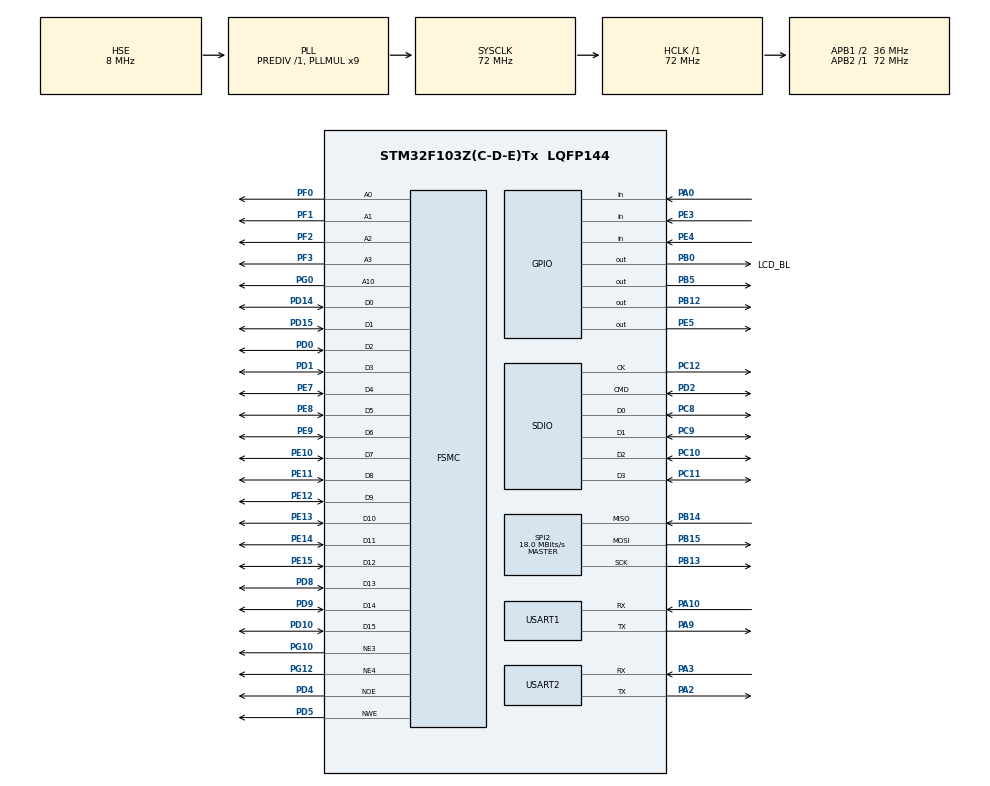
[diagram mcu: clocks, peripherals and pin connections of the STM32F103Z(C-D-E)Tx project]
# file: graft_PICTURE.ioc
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Dma.Request0=USART2_RX
Dma.Request1=USART2_TX
Dma.USART2_RX.0.Direction=DMA_PERIPH_TO_MEMORY
Dma.USART2_RX.0.Instance=DMA1_Channel6
Dma.USART2_RX.0.MemDataAlignment=DMA_MDATAALIGN_BYTE
Dma.USART2_RX.0.MemInc=DMA_MINC_ENABLE
Dma.USART2_RX.0.Mode=DMA_NORMAL
Dma.USART2_RX.0.PeriphDataAlignment=DMA_PDATAALIGN_BYTE
Dma.USART2_RX.0.PeriphInc=DMA_PINC_DISABLE
Dma.USART2_RX.0.Priority=DMA_PRIORITY_LOW
Dma.USART2_TX.1.Direction=DMA_MEMORY_TO_PERIPH
Dma.USART2_TX.1.Instance=DMA1_Channel7
Dma.USART2_TX.1.MemDataAlignment=DMA_MDATAALIGN_BYTE
Dma.USART2_TX.1.MemInc=DMA_MINC_ENABLE
Dma.USART2_TX.1.Mode=DMA_NORMAL
Dma.USART2_TX.1.PeriphDataAlignment=DMA_PDATAALIGN_BYTE
Dma.USART2_TX.1.PeriphInc=DMA_PINC_DISABLE
Dma.USART2_TX.1.Priority=DMA_PRIORITY_LOW
FATFS._CODE_PAGE=936
FATFS._FS_LOCK=10
FATFS._MAX_SS=4096
FATFS._USE_FIND=1
FATFS._USE_LFN=2
FSMC.AddressSetupTime1=6
FSMC.AddressSetupTime2=0
FSMC.BusTurnAroundDuration1=0
FSMC.BusTurnAroundDuration2=0
FSMC.DataSetupTime1=26
FSMC.DataSetupTime2=1
FSMC.ExtendedAddressSetupTime1=3
FSMC.ExtendedBusTurnAroundDuration1=0
FSMC.ExtendedDataSetupTime1=6
FSMC.ExtendedMode1=FSMC_EXTENDED_MODE_ENABLE
FSMC.WriteOperation2=FSMC_WRITE_OPERATION_ENABLE
Mcu.Family=STM32F1
Mcu.Name=STM32F103Z(C-D-E)Tx
Mcu.Package=LQFP144
NVIC.DMA1_Channel6_IRQn=true\:0\:0\:false\:false\:true\:false\:true\:true
NVIC.DMA1_Channel7_IRQn=true\:0\:0\:false\:false\:true\:false\:true\:true
NVIC.PriorityGroup=NVIC_PRIORITYGROUP_4
NVIC.SDIO_IRQn=true\:0\:0\:false\:false\:true\:true\:true\:true
NVIC.USART2_IRQn=true\:0\:0\:false\:false\:true\:true\:true\:true
OSC_IN.Mode=HSE-External-Oscillator
OSC_IN.Signal=RCC_OSC_IN
OSC_OUT.Mode=HSE-External-Oscillator
OSC_OUT.Signal=RCC_OSC_OUT
PA0-WKUP.GPIO_PuPd=GPIO_PULLDOWN
PA0-WKUP.Signal=GPIO_Input
PA10.Mode=Asynchronous
PA10.Signal=USART1_RX
PA13.Mode=Serial_Wire
PA13.Signal=SYS_JTMS-SWDIO
PA14.Mode=Serial_Wire
PA14.Signal=SYS_JTCK-SWCLK
PA2.Mode=Asynchronous
PA2.Signal=USART2_TX
PA3.Mode=Asynchronous
PA3.Signal=USART2_RX
PA9.Mode=Asynchronous
PA9.Signal=USART1_TX
PB0.GPIO_Label=LCD_BL
PB0.GPIO_PuPd=GPIO_PULLDOWN
PB0.Signal=GPIO_Output
PB12.Signal=GPIO_Output
PB13.Mode=Full_Duplex_Master
PB13.Signal=SPI2_SCK
PB14.Mode=Full_Duplex_Master
PB14.Signal=SPI2_MISO
PB15.Mode=Full_Duplex_Master
PB15.Signal=SPI2_MOSI
PB5.GPIO_PuPd=GPIO_PULLUP
PB5.GPIO_Speed=GPIO_SPEED_FREQ_HIGH
PB5.PinState=GPIO_PIN_SET
PB5.Signal=GPIO_Output
PC10.Mode=SD_4_bits_Wide_bus
PC10.Signal=SDIO_D2
PC11.Mode=SD_4_bits_Wide_bus
PC11.Signal=SDIO_D3
PC12.Mode=SD_4_bits_Wide_bus
PC12.Signal=SDIO_CK
PC8.Mode=SD_4_bits_Wide_bus
PC8.Signal=SDIO_D0
PC9.Mode=SD_4_bits_Wide_bus
PC9.Signal=SDIO_D1
PD0.Signal=FSMC_D2_DA2
PD1.Signal=FSMC_D3_DA3
PD10.Signal=FSMC_D15_DA15
PD14.Signal=FSMC_D0_DA0
PD15.Signal=FSMC_D1_DA1
PD2.Mode=SD_4_bits_Wide_bus
PD2.Signal=SDIO_CMD
PD4.Signal=FSMC_NOE
PD5.Signal=FSMC_NWE
PD8.Signal=FSMC_D13_DA13
PD9.Signal=FSMC_D14_DA14
PE10.Signal=FSMC_D7_DA7
PE11.Signal=FSMC_D8_DA8
PE12.Signal=FSMC_D9_DA9
PE13.Signal=FSMC_D10_DA10
PE14.Signal=FSMC_D11_DA11
PE15.Signal=FSMC_D12_DA12
PE3.GPIO_PuPd=GPIO_PULLUP
PE3.Signal=GPIO_Input
PE4.GPIO_PuPd=GPIO_PULLUP
PE4.Signal=GPIO_Input
PE5.GPIO_PuPd=GPIO_PULLUP
PE5.GPIO_Speed=GPIO_SPEED_FREQ_HIGH
PE5.PinState=GPIO_PIN_SET
PE5.Signal=GPIO_Output
PE7.Signal=FSMC_D4_DA4
PE8.Signal=FSMC_D5_DA5
PE9.Signal=FSMC_D6_DA6
PF0.Signal=FSMC_A0
PF1.Signal=FSMC_A1
PF2.Signal=FSMC_A2
PF3.Signal=FSMC_A3
PG0.Signal=FSMC_A10
PG10.Mode=NorPsramChipSelect3_2
PG10.Signal=FSMC_NE3
PG12.Mode=NorPsramChipSelect4_1
PG12.Signal=FSMC_NE4
ProjectManager.HeapSize=0x1200
ProjectManager.StackSize=0x1400
ProjectManager.TargetToolchain=SW4STM32
RCC.AHBFreq_Value=72000000
RCC.APB1CLKDivider=RCC_HCLK_DIV2
RCC.APB1Freq_Value=36000000
RCC.APB1TimFreq_Value=72000000
RCC.APB2Freq_Value=72000000
RCC.APB2TimFreq_Value=72000000
RCC.HCLKFreq_Value=72000000
RCC.PLLMUL=RCC_PLL_MUL9
RCC.PLLSourceVirtual=RCC_PLLSOURCE_HSE
RCC.SYSCLKFreq_VALUE=72000000
RCC.SYSCLKSource=RCC_SYSCLKSOURCE_PLLCLK
RCC.USBFreq_Value=72000000
SDIO.ClockDiv=4
SDIO.HardwareFlowControl=SDIO_HARDWARE_FLOW_CONTROL_ENABLE
SH.FSMC_A0.0=FSMC_A0,4b-a2
SH.FSMC_A1.0=FSMC_A1,4b-a2
SH.FSMC_A10.0=FSMC_A10,A10_1
SH.FSMC_A2.0=FSMC_A2,4b-a2
SH.FSMC_A3.0=FSMC_A3,4b-a2
SH.FSMC_D0_DA0.0=FSMC_D0,16b-d1
SH.FSMC_D0_DA0.1=FSMC_D0,16b-d2
SH.FSMC_D10_DA10.0=FSMC_D10,16b-d1
SH.FSMC_D10_DA10.1=FSMC_D10,16b-d2
SH.FSMC_D11_DA11.0=FSMC_D11,16b-d1
SH.FSMC_D11_DA11.1=FSMC_D11,16b-d2
SH.FSMC_D12_DA12.0=FSMC_D12,16b-d1
SH.FSMC_D12_DA12.1=FSMC_D12,16b-d2
SH.FSMC_D13_DA13.0=FSMC_D13,16b-d1
SH.FSMC_D13_DA13.1=FSMC_D13,16b-d2
SH.FSMC_D14_DA14.0=FSMC_D14,16b-d1
SH.FSMC_D14_DA14.1=FSMC_D14,16b-d2
SH.FSMC_D15_DA15.0=FSMC_D15,16b-d1
SH.FSMC_D15_DA15.1=FSMC_D15,16b-d2
SH.FSMC_D1_DA1.0=FSMC_D1,16b-d1
SH.FSMC_D1_DA1.1=FSMC_D1,16b-d2
SH.FSMC_D2_DA2.0=FSMC_D2,16b-d1
SH.FSMC_D2_DA2.1=FSMC_D2,16b-d2
SH.FSMC_D3_DA3.0=FSMC_D3,16b-d1
SH.FSMC_D3_DA3.1=FSMC_D3,16b-d2
SH.FSMC_D4_DA4.0=FSMC_D4,16b-d1
SH.FSMC_D4_DA4.1=FSMC_D4,16b-d2
SH.FSMC_D5_DA5.0=FSMC_D5,16b-d1
SH.FSMC_D5_DA5.1=FSMC_D5,16b-d2
SH.FSMC_D6_DA6.0=FSMC_D6,16b-d1
SH.FSMC_D6_DA6.1=FSMC_D6,16b-d2
SH.FSMC_D7_DA7.0=FSMC_D7,16b-d1
SH.FSMC_D7_DA7.1=FSMC_D7,16b-d2
SH.FSMC_D8_DA8.0=FSMC_D8,16b-d1
SH.FSMC_D8_DA8.1=FSMC_D8,16b-d2
SH.FSMC_D9_DA9.0=FSMC_D9,16b-d1
SH.FSMC_D9_DA9.1=FSMC_D9,16b-d2
SH.FSMC_NOE.0=FSMC_NOE,Lcd1
SH.FSMC_NOE.1=FSMC_NOE,Sram2
SH.FSMC_NWE.0=FSMC_NWE,Lcd1
SH.FSMC_NWE.1=FSMC_NWE,Sram2
SPI2.CalculateBaudRate=18.0 MBits/s
SPI2.Direction=SPI_DIRECTION_2LINES
SPI2.Mode=SPI_MODE_MASTER
SPI2.VirtualType=VM_MASTER
USART1.VirtualMode=VM_ASYNC
USART2.VirtualMode=VM_ASYNC
VP_FATFS_VS_SDIO.Mode=SDIO
board=custom

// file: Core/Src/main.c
/* USER CODE BEGIN Header */
/**
  ******************************************************************************
  * @file           : main.c
  * @brief          : Main program body
  ******************************************************************************
  * @attention
  *
  * Copyright (c) 2022 STMicroelectronics.
  * All rights reserved.
  *
  * This software is licensed under terms that can be found in the LICENSE file
  * in the root directory of this software component.
  * If no LICENSE file comes with this software, it is provided AS-IS.
  *
  ******************************************************************************
  */
/* USER CODE END Header */
#include "main.h"
#include "dma.h"
#include "fatfs.h"
#include "sdio.h"
#include "spi.h"
#include "usart.h"
#include "gpio.h"
#include "fsmc.h"

/* USER CODE BEGIN Includes */
#include "retarget.h"
#include "stdio.h"
#include "lcd.h"
#include "string.h"
#include "piclib.h"
#include "esp8266.h"
#include "w25q.h"
#include "malloc.h"
#include "fontupd.h"
#include "text.h"
#include "exfuns.h"
#include "ff.h"
/* USER CODE END Includes */

/* USER CODE BEGIN PTD */
__attribute__((aligned(4))) u8 SDIO_DATA_BUFFER[512];
#define SD_TIMEOUT 			((uint32_t)100000000)
#define SD_TRANSFER_OK     	((uint8_t)0x00)
#define SD_TRANSFER_BUSY   	((uint8_t)0x01)

/* USER CODE END PTD */

void SystemClock_Config(void);

/* USER CODE BEGIN 0 */

u16 pic_get_tnum(u8 *path)
{
    u8 res;
    u16 rval=0;
    DIR tdir;
    FILINFO *tfileinfo;
    tfileinfo=(FILINFO*)mymalloc(SRAMIN,sizeof(FILINFO));
    res=f_opendir(&tdir,(const TCHAR*)path);

    if(res==FR_OK&&tfileinfo)
    {
        while(1)
        {
            res=f_readdir(&tdir,tfileinfo);
            if(res!=FR_OK||tfileinfo->fname[0]==0)break;
            res=f_typetell((u8*)tfileinfo->fname);
            if((res&0XF0)==0X50)
            {
                rval++;
            }
        }
    }
    myfree(SRAMIN,tfileinfo);
    return rval;
}
/* USER CODE END 0 */

int main(void)
{
  /* USER CODE BEGIN 1 */
    u8 res;
    DIR picdir;
    FILINFO *picfileinfo;
    u8 *pname;
    u16 totpicnum;
    u16 curindex;
    u8 key;
    u8 pause=0;
    u8 t;
    u16 temp;
    u32 *picoffsettbl;
    uint8_t lcd_id[12];
    u32 fontcnt;
    u8 i,j;
    u8 fontx[2];
  /* USER CODE END 1 */

  /* MCU Configuration--------------------------------------------------------*/

  /* Reset of all peripherals, Initializes the Flash interface and the Systick. */
  HAL_Init();

  /* Configure the system clock */
  SystemClock_Config();

  /* Initialize all configured peripherals */
  MX_GPIO_Init();
  MX_FSMC_Init();
  MX_USART1_UART_Init();
  MX_SDIO_SD_Init();
  MX_DMA_Init();
  MX_USART2_UART_Init();
  MX_FATFS_Init();
  MX_SPI2_Init();
  /* USER CODE BEGIN 2 */
    my_mem_init(SRAMIN);
    exfuns_init();
    f_mount(fs[0],"0:",1);
    f_mount(fs[1],"1:",1);
    RetargetInit(&huart1);
    HAL_Delay(50);
    LCD_Init();
    POINT_COLOR=RED;
    sprintf((char*)lcd_id,"LCD ID:%04X",lcddev.id);
    Show_Str(30,30,200,16,"汉字显示实验:",16,0);
    LCD_ShowString(30,70,200,16,16,"TFTLCD TEST");
    LCD_ShowString(30,110,200,16,16,lcd_id);
    LCD_ShowString(30,130,200,12,12,"2022/7/2");

  /* USER CODE END 2 */

  /* Infinite loop */
  /* USER CODE BEGIN WHILE */

    while(HAL_GPIO_ReadPin(GPIOE,GPIO_PIN_3)==GPIO_PIN_SET);

    POINT_COLOR=RED;
    while(font_init())
    {
UPD:
        LCD_Clear(WHITE);
        POINT_COLOR=RED;
        LCD_ShowString(30,70,200,16,16,"SD Card OK");
        LCD_ShowString(30,90,200,16,16,"Font Updating...");
        key=update_font(20,110,16,"0:");
        while(key)
        {
            LCD_ShowString(30,110,200,16,16,"Font Update Failed!");
            HAL_Delay(200);
            LCD_Fill(20,110,200+20,110+16,WHITE);
            HAL_Delay(200);
        }
        LCD_ShowString(30,110,200,16,16,"Font Update Success!   ");
        HAL_Delay(1500);
        LCD_Clear(WHITE);
    }
    POINT_COLOR=RED;

    Show_Str(30,130,200,16,"按KEY0",16,0);
    POINT_COLOR=BLUE;
    Show_Str(30,150,200,16,"内码高字节:",16,0);
    Show_Str(30,170,200,16,"内码低字节:",16,0);
    Show_Str(30,190,200,16,"汉字计数器:",16,0);

    Show_Str(30,220,200,24,"对应汉字:",24,0);
    while(1)
    {
        fontcnt=0;
        for(i=0x81;i<0xff;i++)
        {
            fontx[0]=i;
            LCD_ShowNum(118,150,i,3,16);
            for(j=0x40;j<0xfe;j++)
            {
                if(j==0x7f)continue;
                fontcnt++;
                LCD_ShowNum(118,170,j,3,16);
                LCD_ShowNum(118,190,fontcnt,5,16);
                fontx[1]=j;
                Show_Font(30+132,220,fontx,24,0);
                Show_Font(30+144,244,fontx,16,0);
                Show_Font(30+108,260,fontx,12,0);
                t=200;
                while(t--)
                {
                    HAL_Delay(1);
                    key=KEY_Scan(0);
                    if(key==KEY0_PRES) goto UPD;
                }
                HAL_GPIO_TogglePin(GPIOB,GPIO_PIN_5);
            }
        }
    }
  while (1)
  {
    /* USER CODE END WHILE */

    /* USER CODE BEGIN 3 */
      HAL_GPIO_TogglePin(GPIOB,GPIO_PIN_5);

  }
  /* USER CODE END 3 */
}

void SystemClock_Config(void)
{
  RCC_OscInitTypeDef RCC_OscInitStruct = {0};
  RCC_ClkInitTypeDef RCC_ClkInitStruct = {0};

  /** Initializes the RCC Oscillators according to the specified parameters
  * in the RCC_OscInitTypeDef structure.
  */
  RCC_OscInitStruct.OscillatorType = RCC_OSCILLATORTYPE_HSE;
  RCC_OscInitStruct.HSEState = RCC_HSE_ON;
  RCC_OscInitStruct.HSEPredivValue = RCC_HSE_PREDIV_DIV1;
  RCC_OscInitStruct.HSIState = RCC_HSI_ON;
  RCC_OscInitStruct.PLL.PLLState = RCC_PLL_ON;
  RCC_OscInitStruct.PLL.PLLSource = RCC_PLLSOURCE_HSE;
  RCC_OscInitStruct.PLL.PLLMUL = RCC_PLL_MUL9;
  if (HAL_RCC_OscConfig(&RCC_OscInitStruct) != HAL_OK)
  {
    Error_Handler();
  }

  /** Initializes the CPU, AHB and APB buses clocks
  */
  RCC_ClkInitStruct.ClockType = RCC_CLOCKTYPE_HCLK|RCC_CLOCKTYPE_SYSCLK
                              |RCC_CLOCKTYPE_PCLK1|RCC_CLOCKTYPE_PCLK2;
  RCC_ClkInitStruct.SYSCLKSource = RCC_SYSCLKSOURCE_PLLCLK;
  RCC_ClkInitStruct.AHBCLKDivider = RCC_SYSCLK_DIV1;
  RCC_ClkInitStruct.APB1CLKDivider = RCC_HCLK_DIV2;
  RCC_ClkInitStruct.APB2CLKDivider = RCC_HCLK_DIV1;

  if (HAL_RCC_ClockConfig(&RCC_ClkInitStruct, FLASH_LATENCY_2) != HAL_OK)
  {
    Error_Handler();
  }
}

/* USER CODE BEGIN 4 */
SD_HandleTypeDef        SDCARD_Handler;
HAL_SD_CardInfoTypeDef  SDCardInfo;
DMA_HandleTypeDef SDTxDMAHandler,SDRxDMAHandler;

u8 SD_GetCardInfo(HAL_SD_CardInfoTypeDef *cardinfo)
{
    u8 sta;
    sta=HAL_SD_GetCardInfo(&SDCARD_Handler,cardinfo);
    return sta;
}

u8 SD_GetCardState(void)
{
    return((HAL_SD_GetCardState(&SDCARD_Handler)==HAL_SD_CARD_TRANSFER )?SD_TRANSFER_OK:SD_TRANSFER_BUSY);
}

u8 SD_ReadDisk(u8* buf,u32 sector,u32 cnt)
{
    u8 sta=HAL_OK;
    u32 timeout=SD_TIMEOUT;
    long long lsector=sector;
    INTX_DISABLE();//??��?��?????(POLLING????,?????????��??SDIO??????����!!!)
    sta=HAL_SD_ReadBlocks(&SDCARD_Handler, (uint8_t*)buf,lsector,cnt,SD_TIMEOUT);

    while(SD_GetCardState()!=SD_TRANSFER_OK)
    {
        if(timeout-- == 0)
        {
            sta=SD_TRANSFER_BUSY;
        }
    }
    INTX_ENABLE();//????��?????
    return sta;
}

u8 SD_WriteDisk(u8 *buf,u32 sector,u32 cnt)
{
    u8 sta=HAL_OK;
    u32 timeout=SD_TIMEOUT;
    long long lsector=sector;
    INTX_DISABLE();//??��?��?????(POLLING????,?????????��??SDIO??????����!!!)
    sta=HAL_SD_WriteBlocks(&SDCARD_Handler,(uint8_t*)buf,lsector,cnt,SD_TIMEOUT);

    //????SD?��???��
    while(SD_GetCardState()!=SD_TRANSFER_OK)
    {
        if(timeout-- == 0)
        {
            sta=SD_TRANSFER_BUSY;
        }
    }
    INTX_ENABLE();//????��?????
    return sta;
}
/* USER CODE END 4 */

void Error_Handler(void)
{
  __disable_irq();
  while (1)
  {
  }
}
